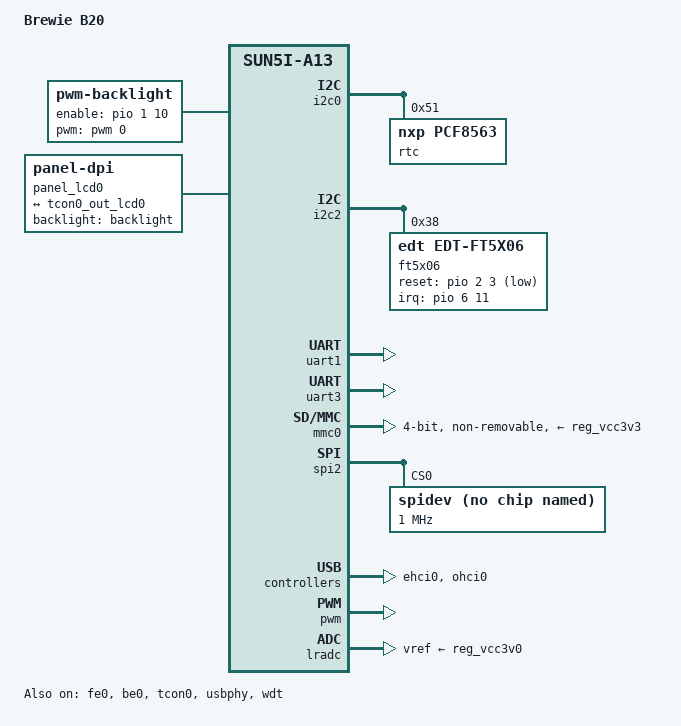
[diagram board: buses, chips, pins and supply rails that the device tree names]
// SPDX-License-Identifier: GPL-2.0-or-later
//
// Device Tree for Brewie B20
// Generated from script.fex analysis
//
// Based on sun5i-a13-q8-tablet.dts
// LCD timing from fbset: 480x272 r5g6b5, ~9MHz pixel clock
// Touch: ft5x06 at 0x38 (I2C2, PG11 interrupt, PC03 reset)
// RTC: PCF8563 at 0x51 (I2C0)
// PMIC: AXP209 at 0x34 (I2C0)
//
/dts-v1/;

#include "allwinner/sun5i-a13.dtsi"
#include "allwinner/sunxi-common-regulators.dtsi"

#include <dt-bindings/gpio/gpio.h>
#include <dt-bindings/input/input.h>
#include <dt-bindings/pwm/pwm.h>
#include <dt-bindings/interrupt-controller/irq.h>

/ {
    model = "Brewie B20";
    compatible = "brewie,b20", "allwinner,sun5i-a13";

    aliases {
        serial0 = &uart1;
    };

    chosen {
        stdout-path = "serial0:115200n8";
    };

    /* LCD backlight - PWM0 is PB2; PB10 is the panel power/latch enable. */
    backlight: backlight {
        compatible = "pwm-backlight";
        pwms = <&pwm 0 9000 0>; /* ~10kHz PWM, active high */
        enable-gpios = <&pio 1 10 GPIO_ACTIVE_HIGH>; /* PB10 / GPIO42 */
        brightness-levels = <0 10 20 30 40 50 60 70 80 90 100>;
        default-brightness-level = <10>;
    };

    panel_lcd0: panel-lcd0 {
        compatible = "panel-dpi";
        backlight = <&backlight>;

        panel-timing {
            clock-frequency = <9000000>;
            hactive = <480>;
            vactive = <272>;
            hfront-porch = <10>;
            hback-porch = <5>;
            hsync-len = <30>;
            vfront-porch = <3>;
            vback-porch = <8>;
            vsync-len = <5>;
        };

        port {
            panel_lcd0_in: endpoint {
                remote-endpoint = <&tcon0_out_lcd0>;
            };
        };
    };

    /* Simple framebuffer for early console */
    framebuffer-lcd0@40000000 {
        compatible = "allwinner,simple-framebuffer", "simple-framebuffer";
        allwinner,pipeline = "de_be0-lcd0";
        reg = <0x40000000 0x3fc00>; /* 480x272x16bpp */
        width = <480>;
        height = <272>;
        stride = <960>; /* 480 x 16bpp */
        format = "r5g6b5";
        status = "disabled";
        clocks = <&ccu CLK_AHB_LCD>, <&ccu CLK_AHB_DE_BE>, <&ccu CLK_DE_BE>,
                 <&ccu CLK_TCON_CH0>, <&ccu CLK_DRAM_DE_BE>;
        /* Timing from fbset output: hfp=10, hbp=5, vfp=3, vbp=8, hspw=30, vspw=5 */
    };
};

/* U-Boot cannot adjust core voltage without the PMIC; stay at the boot rate. */
&cpu0 {
    operating-points = <384000 1200000>;
};

/* LCD pins: use the valid A13 RGB666 pin group. */
&pio {
    vcc-pb-supply = <&reg_vcc3v3>;
    vcc-pc-supply = <&reg_vcc3v3>;
    vcc-pd-supply = <&reg_vcc3v3>;
    vcc-pf-supply = <&reg_vcc3v3>;
    vcc-pg-supply = <&reg_vcc3v3>;

};

&i2c0 {
    pinctrl-names = "default";
    pinctrl-0 = <&i2c0_pins>;
    status = "okay";

    rtc@51 {
        compatible = "nxp,pcf8563";
        reg = <0x51>;
        status = "okay";
    };
};

&i2c2 {
    pinctrl-names = "default";
    pinctrl-0 = <&i2c2_pins>;
    status = "okay";

    ft5x06@38 {
        compatible = "edt,edt-ft5x06";
        reg = <0x38>;
        status = "okay";
        interrupt-parent = <&pio>;
        interrupts = <6 11 IRQ_TYPE_EDGE_FALLING>;
        reset-gpios = <&pio 2 3 GPIO_ACTIVE_LOW>;
    };
};

&uart1 {
    pinctrl-names = "default";
    pinctrl-0 = <&uart1_pg_pins>;
    status = "okay";
};
&uart3 {
    pinctrl-names = "default";
    pinctrl-0 = <&uart3_pg_pins>;
    status = "okay";
};
&mmc0 {
    pinctrl-names = "default";
    pinctrl-0 = <&mmc0_pins>;
    vmmc-supply = <&reg_vcc3v3>;
    bus-width = <4>;
    non-removable;
    status = "okay";
};
&spi2 {
    pinctrl-names = "default";
    pinctrl-0 = <&spi2_pe_pins>, <&spi2_cs0_pe_pin>;
    status = "okay";

    spidev@0 {
        compatible = "spidev";
        reg = <0>;
        spi-max-frequency = <1000000>;
    };
};

&fe0 {
    status = "okay";
};

&be0 {
    status = "okay";
};

&tcon0 {
    pinctrl-names = "default";
    pinctrl-0 = <&lcd_rgb666_pins>;
    status = "okay";
};

&tcon0_out {
    tcon0_out_lcd0: endpoint@0 {
        reg = <0>;
        remote-endpoint = <&panel_lcd0_in>;
    };
};
&ehci0 {
    status = "okay";
};

&ohci0 {
    status = "okay";
};

&reg_usb1_vbus {
    gpio = <&pio 6 13 GPIO_ACTIVE_HIGH>; /* FEX usb_drv_vbus_gpio: PG13 */
    status = "okay";
};

&usbphy {
    status = "okay";
};

&pwm {
    pinctrl-names = "default";
    pinctrl-0 = <&pwm0_pin>;
    status = "okay";
};
&lradc {
    vref-supply = <&reg_vcc3v0>;
    status = "okay";
};

/* Re-enable the board watchdog now that the basic boot path is stable. */
&wdt {
    status = "okay";
};
